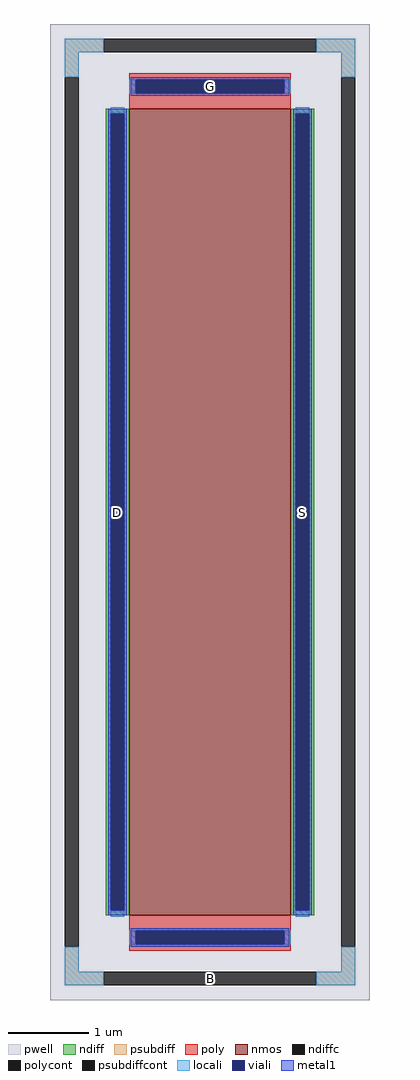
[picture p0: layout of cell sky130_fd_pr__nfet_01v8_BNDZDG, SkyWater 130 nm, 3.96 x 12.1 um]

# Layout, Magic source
magic
tech sky130A
magscale 1 2
<< pwell >>
rect -396 -1210 396 1210
<< nmos >>
rect -200 -1000 200 1000
<< ndiff >>
rect -258 988 -200 1000
rect -258 -988 -246 988
rect -212 -988 -200 988
rect -258 -1000 -200 -988
rect 200 988 258 1000
rect 200 -988 212 988
rect 246 -988 258 988
rect 200 -1000 258 -988
<< ndiffc >>
rect -246 -988 -212 988
rect 212 -988 246 988
<< psubdiff >>
rect -360 1140 -264 1174
rect 264 1140 360 1174
rect -360 1078 -326 1140
rect 326 1078 360 1140
rect -360 -1140 -326 -1078
rect 326 -1140 360 -1078
rect -360 -1174 -264 -1140
rect 264 -1174 360 -1140
<< psubdiffcont >>
rect -264 1140 264 1174
rect -360 -1078 -326 1078
rect 326 -1078 360 1078
rect -264 -1174 264 -1140
<< poly >>
rect -200 1072 200 1088
rect -200 1038 -184 1072
rect 184 1038 200 1072
rect -200 1000 200 1038
rect -200 -1038 200 -1000
rect -200 -1072 -184 -1038
rect 184 -1072 200 -1038
rect -200 -1088 200 -1072
<< polycont >>
rect -184 1038 184 1072
rect -184 -1072 184 -1038
<< locali >>
rect -360 1140 -264 1174
rect 264 1140 360 1174
rect -360 1078 -326 1140
rect 326 1078 360 1140
rect -200 1038 -184 1072
rect 184 1038 200 1072
rect -246 988 -212 1004
rect -246 -1004 -212 -988
rect 212 988 246 1004
rect 212 -1004 246 -988
rect -200 -1072 -184 -1038
rect 184 -1072 200 -1038
rect -360 -1140 -326 -1078
rect 326 -1140 360 -1078
rect -360 -1174 -264 -1140
rect 264 -1174 360 -1140
<< viali >>
rect -184 1038 184 1072
rect -246 -988 -212 988
rect 212 -988 246 988
rect -184 -1072 184 -1038
<< metal1 >>
rect -196 1072 196 1078
rect -196 1038 -184 1072
rect 184 1038 196 1072
rect -196 1032 196 1038
rect -252 988 -206 1000
rect -252 -988 -246 988
rect -212 -988 -206 988
rect -252 -1000 -206 -988
rect 206 988 252 1000
rect 206 -988 212 988
rect 246 -988 252 988
rect 206 -1000 252 -988
rect -196 -1038 196 -1032
rect -196 -1072 -184 -1038
rect 184 -1072 196 -1038
rect -196 -1078 196 -1072
<< labels >>
rlabel psubdiffcont 0 -1157 0 -1157 0 B
port 1 nsew
rlabel ndiffc -229 0 -229 0 0 D
port 2 nsew
rlabel ndiffc 229 0 229 0 0 S
port 3 nsew
rlabel polycont 0 1055 0 1055 0 G
port 4 nsew
<< properties >>
string FIXED_BBOX -343 -1157 343 1157
string gencell sky130_fd_pr__nfet_01v8
string library sky130
string parameters w 10 l 2 m 1 nf 1 diffcov 100 polycov 100 guard 1 glc 1 grc 1 gtc 1 gbc 1 tbcov 100 rlcov 100 topc 1 botc 1 poverlap 0 doverlap 1 lmin 0.15 wmin 0.42 class mosfet compatible {sky130_fd_pr__nfet_01v8 sky130_fd_pr__nfet_01v8_lvt  sky130_fd_bs_flash__special_sonosfet_star  sky130_fd_pr__nfet_g5v0d10v5 sky130_fd_pr__nfet_05v0_nvt  sky130_fd_pr__nfet_03v3_nvt} full_metal 1 conn_gates 0 viasrc 100 viadrn 100 viagate 100 viagb 0 viagr 0 viagl 0 viagt 0 doports 1
<< end >>
